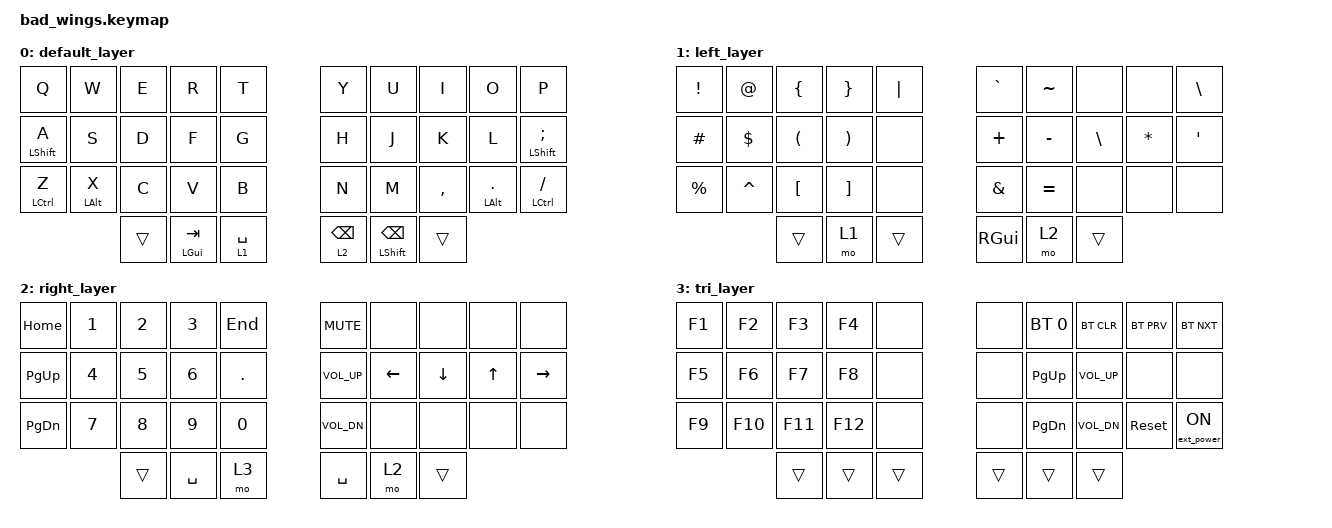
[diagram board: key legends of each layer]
/*
 * Copyright (c) 2020 The ZMK Contributors
 *
 * SPDX-License-Identifier: MIT
 */

#include <behaviors.dtsi>
#include <dt-bindings/zmk/keys.h>
#include <dt-bindings/zmk/bt.h>
#include <dt-bindings/zmk/ext_power.h>
#include <dt-bindings/zmk/outputs.h>
#include <dt-bindings/zmk/mouse.h>
#include <behaviors/mouse_keys.dtsi>

&mt {
    flavor = "tap-preferred";
    tapping_term_ms = <200>;
    quick_tap_ms = <0>;
};

/ { 

    combos {
        compatible = "zmk,combos";
        combo_esc {
            timeout-ms = <50>;
            key-positions = <0 1>;
            bindings = <&kp ESC>;
        };
        
            combo_bspc {
            timeout-ms = <50>;
            key-positions = <11 12>;
            bindings = <&kp BSPC>;
        };
        
            combo_leftent {
            timeout-ms = <50>;
            key-positions = <11 13>;
            bindings = <&kp ENTER>;
        };
        
            combo_rightent {
            timeout-ms = <50>;
            key-positions = <17 18>;
            bindings = <&kp ENTER>;
        };
        
       
            combo_del {
            timeout-ms = <50>;
            key-positions = <5 6>;
            bindings = <&kp DEL>;
        };
                
        
            combo_undsc {
            timeout-ms = <50>;
            key-positions = <21 22>;
            bindings = <&kp MINUS>;
        };
        
        
            combo_less {
            timeout-ms = <50>;
            key-positions = <15 16>;
            bindings = <&kp LT>;
        };

                
            combo_more {
            timeout-ms = <50>;
            key-positions = <16 17>;
            bindings = <&kp GT>;
        };
        
        
            combo_quote {
            timeout-ms = <50>;
            key-positions = <26 27>;
            bindings = <&kp SQT>;
        };


            combo_minus {
            timeout-ms = <50>;
            key-positions = <25 26>;
            bindings = <&kp UNDER>;
        };


            combo_tab {
            timeout-ms = <50>;
            key-positions = <11 21>;
            bindings = <&kp TAB>;
        };
      

            combo_left {
            timeout-ms = <50>;
            key-positions = <30 31>;
            bindings = <&mo 2>;
        };


            combo_right {
            timeout-ms = <50>;
            key-positions = <32 33>;
            bindings = <&mo 1>;
        };
	
	   combo_workspaceleft {
	   timeout-ms = <50>;
	   key-positions = <1 11>;
	   bindings = <&kp RG(RC(LEFT))>;
	};
	
	  combo_workspaceright {
	  timeout-ms = <50>;
	  key-positions = <3 13>;
	  bindings = <&kp RG(RC(RIGHT))>;
	};
	
	 combo_alttab {
	  timeout-ms = <20>;
	  key-positions = <2 12>;
	  bindings = <&kp LA(TAB)>;
	};
	
	combo_newalt {
            timeout-ms = <50>;
            key-positions = <12 13>;
            bindings = <&kp TAB>;
        };

	combo_boot {
	    timeout-ms = <50>;
	    key-positions = <0 4 5 9>;
	    bindings = <&bootloader>;
	};

combo_lclck {
     timeout-ms = <50>;
     key-positions = <4 14>;
     bindings= <&mkp LCLK>;
     };

combo_rclck {
     timeout-ms = <50>;
     key-positions = <14 24>;
     bindings= <&mkp RCLK>;
     };
    };

        keymap {
                compatible = "zmk,keymap";
                
       		default_layer {
		bindings = <
		&kp Q &kp W &kp E &kp R &kp T 				 &kp Y &kp U &kp I &kp O &kp P 
		&mt LSHIFT A &kp S &kp D &kp F &kp G 			         &kp H &kp J &kp K &kp L &mt LSHIFT SEMI
		&mt LCTL Z &mt LALT X &kp C &kp V &kp B	                 &kp N &kp M &kp COMMA &mt LALT DOT &mt LCTL SLASH
          			     &trans &mt LGUI TAB &lt 1 SPC  		 &lt 2 BSPC &mt LSHIFT BSPC &trans 
		>;
		};

       		left_layer {
		bindings = <
		&kp EXCL  &kp AT  &kp LBRC  &kp RBRC  &kp PIPE    	&kp GRAVE &kp TILDE &none &none &kp BSLH
		&kp HASH  &kp DLLR  &kp LPAR  &kp RPAR  &none 		&kp PLUS &kp MINUS  &kp BSLH  &kp STAR  &kp SQT 
		&kp PRCNT  &kp CARET  &kp LBKT &kp RBKT &none 		&kp AMPS &kp EQUAL &none &none &none
					    	&trans &mo 1  &trans  	&kp RGUI &mo 2 &trans
		>;
		};
		
		right_layer {
		bindings = <
		&kp HOME  &kp N1 &kp N2  &kp N3  &kp END    		&kp K_MUTE  &none &none &none &none 
		&kp PG_UP  &kp N4  &kp N5 &kp N6 &kp DOT 		&kp K_VOL_UP &kp LEFT  &kp DOWN  &kp UP   &kp RIGHT
		&kp PG_DN  &kp N7 &kp N8 &kp N9   &kp N0    		&kp K_VOL_DN &none &none &none  &none
					    &trans &kp SPC &mo 3  		&kp SPC  &mo 2 &trans
		>;
		};	
		
		tri_layer {
		bindings = <
		&kp F1 &kp F2 &kp F3 &kp F4 &none 			&none &bt BT_SEL 0 &bt BT_CLR &bt BT_PRV &bt BT_NXT
		&kp F5 &kp F6 &kp F7 &kp F8 &none  			&none &kp PG_UP  &kp K_VOL_UP &none &none 
		&kp F9  &kp F10 &kp F11 &kp F12 &none   		&none &kp PG_DN  &kp K_VOL_DN  &sys_reset &ext_power EP_ON  
					&trans &trans &trans  		&trans &trans &trans
		>;
		};	
        
	};
};
